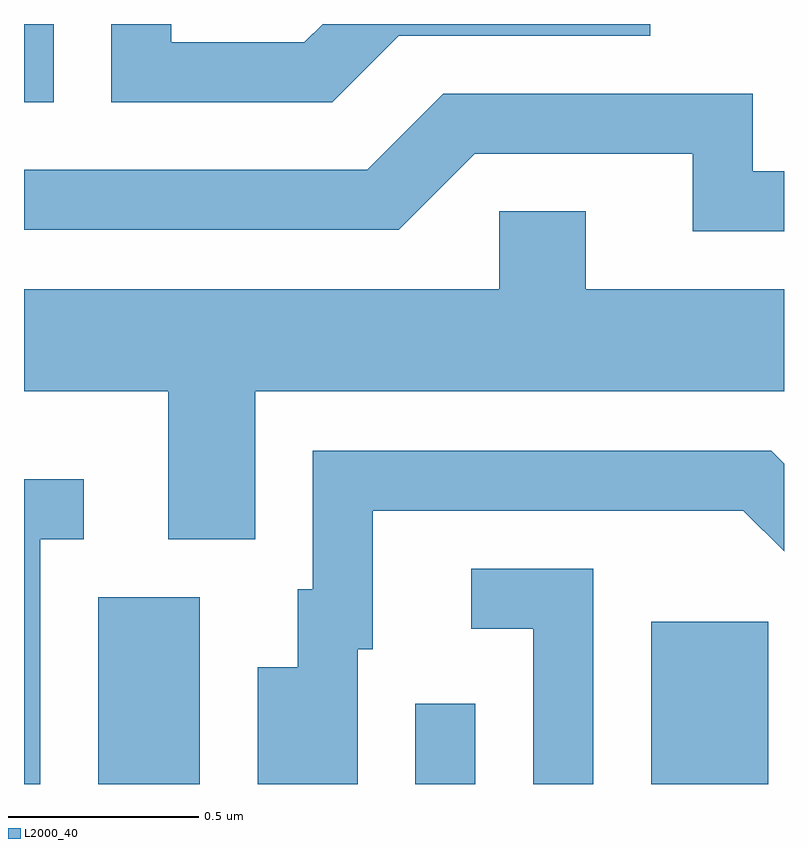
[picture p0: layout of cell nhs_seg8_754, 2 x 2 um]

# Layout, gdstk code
import gdstk
lib = gdstk.Library(unit=1e-6, precision=1e-09)
def R(c, l, rs):  # rectangles x0, y0, x1, y1
    for r in rs: c.add(gdstk.rectangle(r[:2], r[2:], *l))
def P(c, l, *ps):  # polygons
    for p in ps: c.add(gdstk.Polygon(p, *l))
L2000_40 = (2000, 40)

nhs_seg8_754 = lib.new_cell('nhs_seg8_754')
R(nhs_seg8_754, L2000_40, [(190.806,1875.342,191.074,1875.834), (191.641,1875.342,191.799,1875.553), (192.261,1875.342,192.569,1875.769), (190.611,1877.136,190.689,1877.342)])
P(nhs_seg8_754, L2000_40, [(191.597,1877.311),(192.259,1877.311),(192.259,1877.342),(191.397,1877.342),(191.349,1877.294),(190.999,1877.294),(190.999,1877.342),(190.841,1877.342),(190.841,1877.136),(191.422,1877.136)],
  [(192.611,1876.954),(192.529,1876.954),(192.529,1877.159),(191.714,1877.159),(191.514,1876.959),(190.611,1876.959),(190.611,1876.801),(191.597,1876.801),(191.797,1877.001),(192.371,1877.001),(192.371,1876.796),(192.611,1876.796)],
  [(191.219,1876.376),(192.611,1876.376),(192.611,1876.644),(192.089,1876.644),(192.089,1876.849),(191.861,1876.849),(191.861,1876.644),(190.611,1876.644),(190.611,1876.376),(190.991,1876.376),(190.991,1875.986),(191.219,1875.986)],
  [(191.489,1875.696),(191.529,1875.696),(191.529,1876.061),(192.504,1876.061),(192.611,1875.954),(192.611,1876.185),(192.577,1876.219),(191.371,1876.219),(191.371,1875.854),(191.331,1875.854),(191.331,1875.649),(191.226,1875.649),(191.226,1875.342),(191.489,1875.342)],
  [(190.654,1875.986),(190.768,1875.986),(190.768,1876.144),(190.611,1876.144),(190.611,1875.342),(190.654,1875.342)],
  [(192.109,1875.909),(191.788,1875.909),(191.788,1875.751),(191.951,1875.751),(191.951,1875.342),(192.109,1875.342)])

lib.write_gds('nhs_seg8_754.gds')
